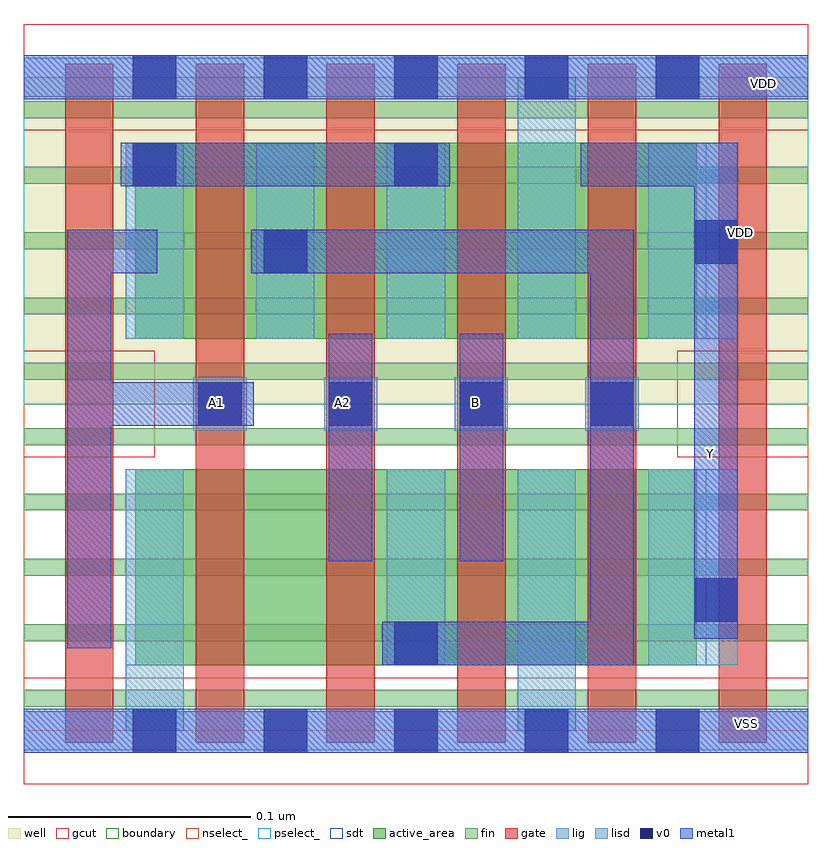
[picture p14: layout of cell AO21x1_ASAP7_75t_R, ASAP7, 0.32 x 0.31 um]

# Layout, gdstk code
import gdstk
lib = gdstk.Library(unit=1e-6, precision=2.5e-10)
def R(c, l, rs):  # rectangles x0, y0, x1, y1
    for r in rs: c.add(gdstk.rectangle(r[:2], r[2:], *l))
def A(c, l, x, y, w, h, nx, ny, dx, dy):  # array of equal rectangles
    R(c, l, [(x+i*dx, y+j*dy, x+i*dx+w, y+j*dy+h) for i in range(nx) for j in range(ny)])
def P(c, l, *ps):  # polygons
    for p in ps: c.add(gdstk.Polygon(p, *l))
well = (1, 0)
fin = (2, 0)
gate = (7, 0)
gcut = (10, 0)
active_area = (11, 0)
nselect_ = (12, 0)
pselect_ = (13, 0)
lig = (16, 0)
lisd = (17, 0)
v0 = (18, 0)
metal1 = (19, 0)
sdt = (88, 0)
boundary = (100, 0)

ao21x1_asap7_75t_r = lib.new_cell('AO21x1_ASAP7_75t_R')
R(ao21x1_asap7_75t_r, well, [(0,0.135,0.324,0.27)])
A(ao21x1_asap7_75t_r, fin, 0, 0.01, 0.324, 0.007, 1, 10, 0, 0.027)
A(ao21x1_asap7_75t_r, gate, 0.017, -0.005, 0.02, 0.2805, 4, 1, 0.054, 0)
R(ao21x1_asap7_75t_r, gate, [(0.179,-0.005,0.199,0.2755), (0.233,-0.005,0.253,0.2755), (0.233,-0.005,0.253,0.2755), (0.287,-0.005,0.307,0.2755), (0.287,-0.005,0.307,0.2755)])
R(ao21x1_asap7_75t_r, gcut, [(0,-0.022,0.324,0.022), (0,0.113,0.054,0.157), (0.27,0.113,0.324,0.157), (0,0.248,0.324,0.292)])
R(ao21x1_asap7_75t_r, active_area, [(0.046,0.027,0.278,0.108), (0.046,0.162,0.278,0.243)])
R(ao21x1_asap7_75t_r, nselect_, [(0,0,0.324,0.135)])
R(ao21x1_asap7_75t_r, pselect_, [(0,0.135,0.324,0.27)])
A(ao21x1_asap7_75t_r, lig, 0.07, 0.124, 0.022, 0.022, 4, 1, 0.054, 0)
R(ao21x1_asap7_75t_r, lig, [(0,-0.008,0.324,0.008), (0,0.262,0.324,0.278)])
A(ao21x1_asap7_75t_r, lisd, 0.042, 0.027, 0.024, 0.081, 3, 1, 0.108, 0)
A(ao21x1_asap7_75t_r, lisd, 0.042, 0.162, 0.024, 0.081, 4, 1, 0.054, 0)
R(ao21x1_asap7_75t_r, lisd, [(0.042,0,0.066,0.108), (0.204,0,0.228,0.108), (0.204,0.027,0.228,0.081), (0.258,0.027,0.295,0.108), (0.204,0.162,0.228,0.27), (0.204,0.162,0.228,0.27), (0.258,0.162,0.295,0.243)])
A(ao21x1_asap7_75t_r, v0, 0.045, -0.009, 0.018, 0.018, 3, 2, 0.054, 0.27)
A(ao21x1_asap7_75t_r, v0, 0.072, 0.126, 0.018, 0.018, 4, 1, 0.054, 0)
R(ao21x1_asap7_75t_r, v0, [(0.153,-0.009,0.171,0.009), (0.207,-0.009,0.225,0.009), (0.207,-0.009,0.225,0.009), (0.261,-0.009,0.279,0.009), (0.261,-0.009,0.279,0.009), (0.153,0.027,0.171,0.045), (0.277,0.045,0.295,0.063), (0.099,0.189,0.117,0.207), (0.277,0.193,0.295,0.211), (0.045,0.225,0.063,0.243), (0.153,0.225,0.171,0.243), (0.153,0.261,0.171,0.279), (0.207,0.261,0.225,0.279), (0.207,0.261,0.225,0.279), (0.261,0.261,0.279,0.279), (0.261,0.261,0.279,0.279)])
R(ao21x1_asap7_75t_r, metal1, [(0,-0.009,0.324,0.009), (0.126,0.07,0.144,0.164), (0.18,0.07,0.198,0.164), (0.04,0.225,0.176,0.243), (0,0.261,0.324,0.279)])
P(ao21x1_asap7_75t_r, metal1, [(0.295,0.243),(0.23,0.243),(0.23,0.225),(0.277,0.225),(0.277,0.038),(0.295,0.038)],
  [(0.252,0.207),(0.094,0.207),(0.094,0.189),(0.234,0.189),(0.234,0.045),(0.148,0.045),(0.148,0.027),(0.252,0.027)],
  [(0.095,0.144),(0.036,0.144),(0.036,0.189),(0.055,0.189),(0.055,0.207),(0.018,0.207),(0.018,0.034),(0.036,0.034),(0.036,0.126),(0.095,0.126)])
A(ao21x1_asap7_75t_r, sdt, 0.15, 0.027, 0.024, 0.081, 3, 1, 0.054, 0)
A(ao21x1_asap7_75t_r, sdt, 0.042, 0.162, 0.024, 0.081, 4, 1, 0.054, 0)
R(ao21x1_asap7_75t_r, sdt, [(0.042,0.027,0.066,0.108), (0.204,0.027,0.228,0.081), (0.258,0.027,0.282,0.108), (0.204,0.162,0.228,0.243), (0.258,0.162,0.282,0.243), (0.258,0.162,0.282,0.243)])
R(ao21x1_asap7_75t_r, boundary, [(0,0,0.324,0.27)])
ao21x1_asap7_75t_r.add(gdstk.Label('VSS', (0.287,-0.04), layer=3, texttype=251))
ao21x1_asap7_75t_r.add(gdstk.Label('VDD', (0.296,0.206), layer=1, texttype=251))
ao21x1_asap7_75t_r.add(gdstk.Label('A2', (0.1315,0.1355), layer=19, texttype=251))
ao21x1_asap7_75t_r.add(gdstk.Label('Y', (0.2835,0.1145), layer=19, texttype=251))
ao21x1_asap7_75t_r.add(gdstk.Label('VDD', (0.3055,0.2675), layer=19, texttype=251))
ao21x1_asap7_75t_r.add(gdstk.Label('VSS', (0.2985,0.003), layer=19, texttype=251))
ao21x1_asap7_75t_r.add(gdstk.Label('B', (0.1865,0.1355), layer=19, texttype=251))
ao21x1_asap7_75t_r.add(gdstk.Label('A1', (0.0795,0.1355), layer=19, texttype=251))

lib.write_gds('AO21x1_ASAP7_75t_R.gds')
